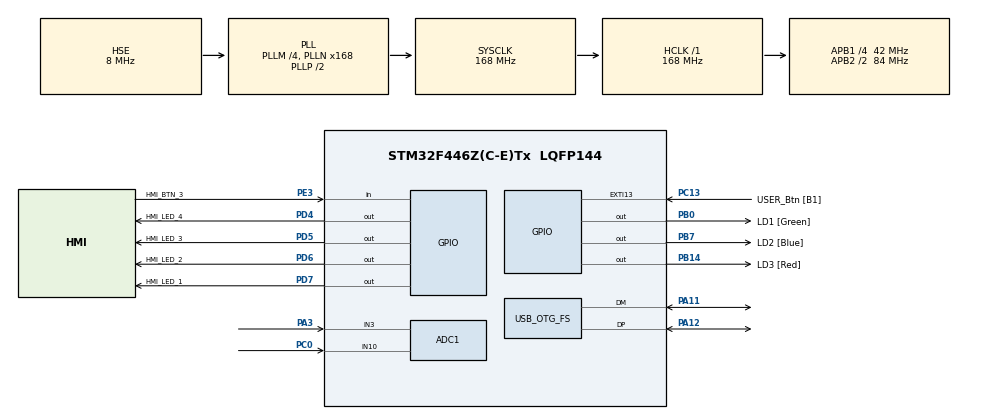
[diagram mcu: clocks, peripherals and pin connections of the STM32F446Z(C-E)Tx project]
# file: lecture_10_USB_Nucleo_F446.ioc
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ADC1.Channel-0\#ChannelRegularConversion=ADC_CHANNEL_3
ADC1.Channel-1\#ChannelRegularConversion=ADC_CHANNEL_10
ADC1.ContinuousConvMode=ENABLE
ADC1.NbrOfConversion=2
ADC1.NbrOfConversionFlag=1
ADC1.Rank-0\#ChannelRegularConversion=1
ADC1.Rank-1\#ChannelRegularConversion=2
ADC1.SamplingTime-0\#ChannelRegularConversion=ADC_SAMPLETIME_480CYCLES
ADC1.SamplingTime-1\#ChannelRegularConversion=ADC_SAMPLETIME_480CYCLES
ADC1.ScanConvMode=ENABLE
ADC1.master=1
Dma.ADC1.0.Direction=DMA_PERIPH_TO_MEMORY
Dma.ADC1.0.FIFOMode=DMA_FIFOMODE_DISABLE
Dma.ADC1.0.Instance=DMA2_Stream0
Dma.ADC1.0.MemDataAlignment=DMA_MDATAALIGN_HALFWORD
Dma.ADC1.0.MemInc=DMA_MINC_ENABLE
Dma.ADC1.0.Mode=DMA_CIRCULAR
Dma.ADC1.0.PeriphDataAlignment=DMA_PDATAALIGN_HALFWORD
Dma.ADC1.0.PeriphInc=DMA_PINC_DISABLE
Dma.ADC1.0.Priority=DMA_PRIORITY_LOW
Dma.Request0=ADC1
Mcu.Family=STM32F4
Mcu.Name=STM32F446Z(C-E)Tx
Mcu.Package=LQFP144
NVIC.DMA2_Stream0_IRQn=true\:0\:0\:false\:false\:true\:false\:true\:true
NVIC.EXTI15_10_IRQn=true\:0\:0\:false\:false\:true\:true\:true\:true
NVIC.OTG_FS_IRQn=true\:0\:0\:false\:false\:true\:true\:true\:true
NVIC.PriorityGroup=NVIC_PRIORITYGROUP_4
PA11.Mode=Device_Only
PA11.Signal=USB_OTG_FS_DM
PA12.Mode=Device_Only
PA12.Signal=USB_OTG_FS_DP
PA13.Mode=Serial_Wire
PA13.Signal=SYS_JTMS-SWDIO
PA14.Mode=Serial_Wire
PA14.Signal=SYS_JTCK-SWCLK
PA3.Signal=ADCx_IN3
PB0.GPIO_Label=LD1 [Green]
PB0.Signal=GPIO_Output
PB14.GPIO_Label=LD3 [Red]
PB14.Signal=GPIO_Output
PB7.GPIO_Label=LD2 [Blue]
PB7.Signal=GPIO_Output
PC0.Signal=ADCx_IN10
PC13.GPIO_Label=USER_Btn [B1]
PC13.Signal=GPXTI13
PC14-OSC32_IN.Mode=LSE-External-Oscillator
PC14-OSC32_IN.Signal=RCC_OSC32_IN
PC15-OSC32_OUT.Mode=LSE-External-Oscillator
PC15-OSC32_OUT.Signal=RCC_OSC32_OUT
PD4.GPIO_Label=HMI_LED_4
PD4.GPIO_ModeDefaultOutputPP=GPIO_MODE_OUTPUT_PP
PD4.GPIO_PuPd=GPIO_NOPULL
PD4.GPIO_Speed=GPIO_SPEED_FREQ_LOW
PD4.PinState=GPIO_PIN_RESET
PD4.Signal=GPIO_Output
PD5.GPIO_Label=HMI_LED_3
PD5.GPIO_ModeDefaultOutputPP=GPIO_MODE_OUTPUT_PP
PD5.GPIO_PuPd=GPIO_NOPULL
PD5.GPIO_Speed=GPIO_SPEED_FREQ_LOW
PD5.PinState=GPIO_PIN_RESET
PD5.Signal=GPIO_Output
PD6.GPIO_Label=HMI_LED_2
PD6.GPIO_ModeDefaultOutputPP=GPIO_MODE_OUTPUT_PP
PD6.GPIO_PuPd=GPIO_NOPULL
PD6.GPIO_Speed=GPIO_SPEED_FREQ_LOW
PD6.PinState=GPIO_PIN_RESET
PD6.Signal=GPIO_Output
PD7.GPIO_Label=HMI_LED_1
PD7.GPIO_ModeDefaultOutputPP=GPIO_MODE_OUTPUT_PP
PD7.GPIO_PuPd=GPIO_NOPULL
PD7.GPIO_Speed=GPIO_SPEED_FREQ_LOW
PD7.PinState=GPIO_PIN_RESET
PD7.Signal=GPIO_Output
PE3.GPIO_Label=HMI_BTN_3
PE3.GPIO_PuPd=GPIO_PULLDOWN
PE3.Signal=GPIO_Input
PH0-OSC_IN.Mode=HSE-External-Clock-Source
PH0-OSC_IN.Signal=RCC_OSC_IN
PH1-OSC_OUT.Mode=HSE-External-Clock-Source
PH1-OSC_OUT.Signal=RCC_OSC_OUT
ProjectManager.HeapSize=0x200
ProjectManager.StackSize=0x400
ProjectManager.TargetToolchain=STM32CubeIDE
RCC.48MHZClocksFreq_Value=24000000
RCC.AHBFreq_Value=168000000
RCC.APB1CLKDivider=RCC_HCLK_DIV4
RCC.APB1Freq_Value=42000000
RCC.APB1TimFreq_Value=84000000
RCC.APB2CLKDivider=RCC_HCLK_DIV2
RCC.APB2Freq_Value=84000000
RCC.APB2TimFreq_Value=168000000
RCC.CortexFreq_Value=168000000
RCC.HCLKFreq_Value=168000000
RCC.HSE_VALUE=8000000
RCC.HSI_VALUE=16000000
RCC.PLLM=4
RCC.PLLMUL=RCC_PLL_MUL9
RCC.PLLN=168
RCC.PLLQ=7
RCC.PLLSourceVirtual=RCC_PLLSOURCE_HSE
RCC.PRESCALERUSB=RCC_USBCLKSOURCE_PLL_DIV1_5
RCC.SYSCLKFreq_VALUE=168000000
RCC.SYSCLKSource=RCC_SYSCLKSOURCE_PLLCLK
RCC.SYSCLKSourceVirtual=RCC_SYSCLKSOURCE_PLLCLK
RCC.USBFreq_Value=48000000
RCC.VCOOutputFreq_Value=336000000
SH.ADCx_IN10.0=ADC1_IN10,IN10
SH.ADCx_IN3.0=ADC1_IN3,IN3
USB_DEVICE.CLASS_NAME_FS=HID
USB_DEVICE.PRODUCT_STRING_HID_FS=Crystal Clear Electronics Mouse
USB_DEVICE.VirtualMode-HID_FS=Hid
USB_DEVICE.VirtualModeFS=Hid_FS
USB_OTG_FS.VirtualMode=Device_Only
VP_USB_DEVICE_VS_USB_DEVICE_HID_FS.Mode=HID_FS
board=NUCLEO-F446ZE

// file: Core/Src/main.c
/* USER CODE BEGIN Header */
/**
  ******************************************************************************
  * @file           : main.c
  * @brief          : Main program body
  ******************************************************************************
  * @attention
  *
  * Copyright (c) 2024 STMicroelectronics.
  * All rights reserved.
  *
  * This software is licensed under terms that can be found in the LICENSE file
  * in the root directory of this software component.
  * If no LICENSE file comes with this software, it is provided AS-IS.
  *
  ******************************************************************************
  */
/* USER CODE END Header */
#include "main.h"
#include "adc.h"
#include "dma.h"
#include "usb_device.h"
#include "gpio.h"

/* USER CODE BEGIN Includes */
#include "usbd_hid.h"
/* USER CODE END Includes */

/* USER CODE BEGIN PD */

//Button definition

/*#define BTN_UP_GPIO_Port 	HMI_BTN_1_GPIO_Port
#define BTN_UP_Pin		 	HMI_BTN_1_Pin
#define BTN_DOWN_GPIO_Port  HMI_BTN_5_GPIO_Port
#define BTN_DOWN_Pin		HMI_BTN_5_Pin
#define BTN_LEFT_GPIO_Port  HMI_BTN_2_GPIO_Port
#define BTN_LEFT_Pin		HMI_BTN_2_Pin
#define BTN_RIGHT_GPIO_Port HMI_BTN_4_GPIO_Port
#define BTN_RIGHT_Pin		HMI_BTN_4_Pin*/

#define BTN_CLICK_GPIO_Port HMI_BTN_3_GPIO_Port
#define BTN_CLICK_Pin       HMI_BTN_3_Pin

#define ADC_CENTER   2048   // potméter középállás
#define ADC_DEADZONE 300    // holtsáv a középállás körül
#define MOUSE_DIV    256    // minél nagyobb, annál lassabb az egér
/* USER CODE END PD */

/* USER CODE BEGIN PV */

uint16_t adc_buf[2];   // [0] = PA3 (függőleges), [1] = PC0 (vízszintes)
volatile uint8_t usb_st;

/* USER CODE END PV */

void SystemClock_Config(void);

/* USER CODE BEGIN 0 */
//#define MOUSE_STEP_SIZE 4
static int8_t adc_to_step(uint16_t v)
{
    int32_t d = (int32_t)v - ADC_CENTER;
    if (d > -ADC_DEADZONE && d < ADC_DEADZONE) return 0;
    return (int8_t)(d / MOUSE_DIV);   // kb. -8 ... +7
}

struct mouse_report_t {
    uint8_t buttons;        // Byte to store the value referring to the actual button (1 = left button, 2 = right button)
    int8_t x;               // Horizontal movement (+ = right, - = left)
    int8_t y;               // Vertical movement (+ = down, - = up)
    int8_t wheel;           // Wheel
};
struct mouse_report_t mouseHID;

extern USBD_HandleTypeDef hUsbDeviceFS;

/* USER CODE END 0 */

int main(void)
{

  /* MCU Configuration--------------------------------------------------------*/

  /* Reset of all peripherals, Initializes the Flash interface and the Systick. */
  HAL_Init();

  /* Configure the system clock */
  SystemClock_Config();

  /* Initialize all configured peripherals */
  MX_GPIO_Init();
  MX_DMA_Init();
  MX_USB_DEVICE_Init();
  MX_ADC1_Init();
  /* USER CODE BEGIN 2 */

  mouseHID.buttons = 0;
  mouseHID.x = 0;
  mouseHID.y = 0;
  mouseHID.wheel = 0;
  HAL_ADC_Start_DMA(&hadc1, (uint32_t *)adc_buf, 2);

  /* USER CODE END 2 */

  /* Infinite loop */
  while (1)
  {

    /* USER CODE BEGIN 3 */
	  mouseHID.buttons = 0;
	  mouseHID.x = 4;
	  mouseHID.y = 0;
	  mouseHID.wheel = 0;

	  // Read the buttons setting structure data members
	  mouseHID.buttons = HAL_GPIO_ReadPin(BTN_CLICK_GPIO_Port, BTN_CLICK_Pin) ? 1 : 0;
	  mouseHID.y = adc_to_step(adc_buf[0]);
	  mouseHID.x = adc_to_step(adc_buf[1]);

	  // Send the data of the mouseHID structure
	  usb_st = USBD_HID_SendReport(&hUsbDeviceFS, (uint8_t *)&mouseHID, sizeof(struct mouse_report_t));

	  HAL_GPIO_WritePin(LD1_GPIO_Port, LD1_Pin, hUsbDeviceFS.dev_state == USBD_STATE_CONFIGURED ? GPIO_PIN_SET : GPIO_PIN_RESET);
	  HAL_GPIO_WritePin(LD2_GPIO_Port, LD2_Pin, hUsbDeviceFS.dev_state == USBD_STATE_SUSPENDED  ? GPIO_PIN_SET : GPIO_PIN_RESET);
	  HAL_GPIO_WritePin(LD3_GPIO_Port, LD3_Pin, usb_st != USBD_OK ? GPIO_PIN_SET : GPIO_PIN_RESET);

	  HAL_Delay(20);
  }
  /* USER CODE END 3 */
}

void SystemClock_Config(void)
{
  RCC_OscInitTypeDef RCC_OscInitStruct = {0};
  RCC_ClkInitTypeDef RCC_ClkInitStruct = {0};

  /** Configure the main internal regulator output voltage
  */
  __HAL_RCC_PWR_CLK_ENABLE();
  __HAL_PWR_VOLTAGESCALING_CONFIG(PWR_REGULATOR_VOLTAGE_SCALE1);

  /** Initializes the RCC Oscillators according to the specified parameters
  * in the RCC_OscInitTypeDef structure.
  */
  RCC_OscInitStruct.OscillatorType = RCC_OSCILLATORTYPE_HSE;
  RCC_OscInitStruct.HSEState = RCC_HSE_BYPASS;
  RCC_OscInitStruct.PLL.PLLState = RCC_PLL_ON;
  RCC_OscInitStruct.PLL.PLLSource = RCC_PLLSOURCE_HSE;
  RCC_OscInitStruct.PLL.PLLM = 4;
  RCC_OscInitStruct.PLL.PLLN = 168;
  RCC_OscInitStruct.PLL.PLLP = RCC_PLLP_DIV2;
  RCC_OscInitStruct.PLL.PLLQ = 7;
  RCC_OscInitStruct.PLL.PLLR = 2;
  if (HAL_RCC_OscConfig(&RCC_OscInitStruct) != HAL_OK)
  {
    Error_Handler();
  }

  /** Initializes the CPU, AHB and APB buses clocks
  */
  RCC_ClkInitStruct.ClockType = RCC_CLOCKTYPE_HCLK|RCC_CLOCKTYPE_SYSCLK
                              |RCC_CLOCKTYPE_PCLK1|RCC_CLOCKTYPE_PCLK2;
  RCC_ClkInitStruct.SYSCLKSource = RCC_SYSCLKSOURCE_PLLCLK;
  RCC_ClkInitStruct.AHBCLKDivider = RCC_SYSCLK_DIV1;
  RCC_ClkInitStruct.APB1CLKDivider = RCC_HCLK_DIV4;
  RCC_ClkInitStruct.APB2CLKDivider = RCC_HCLK_DIV2;

  if (HAL_RCC_ClockConfig(&RCC_ClkInitStruct, FLASH_LATENCY_5) != HAL_OK)
  {
    Error_Handler();
  }
}

void Error_Handler(void)
{
  __disable_irq();
  while (1)
  {
  }
}
